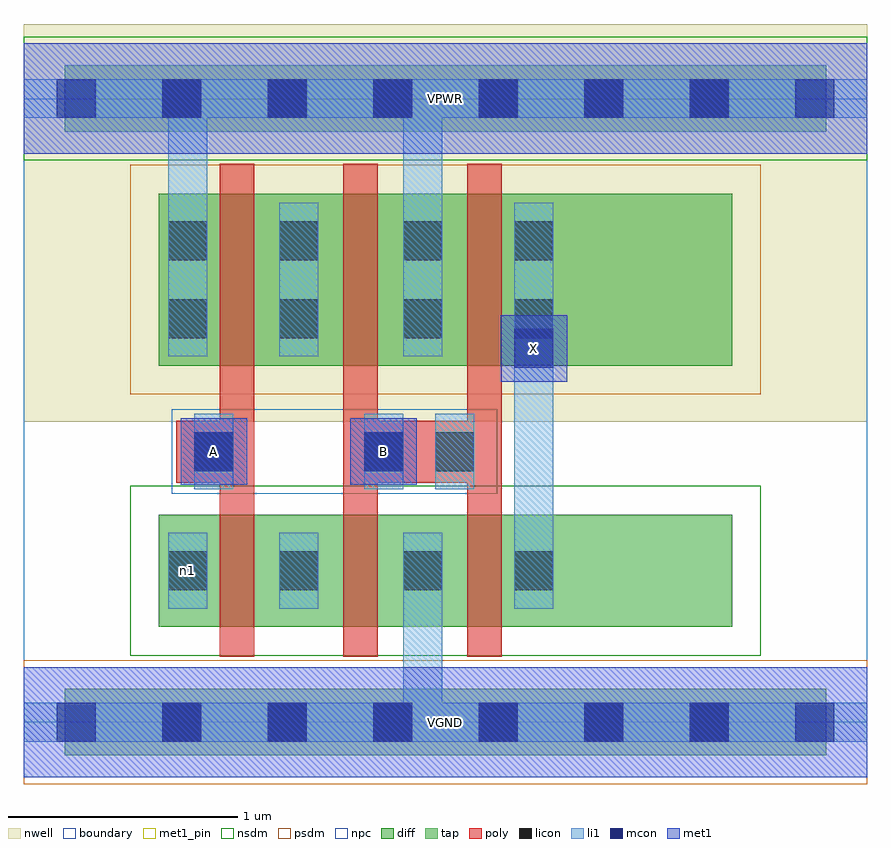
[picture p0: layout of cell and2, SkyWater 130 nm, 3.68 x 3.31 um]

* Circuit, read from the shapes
.subckt and2 A B VGND VPWR X n1
XM1 n2 A n1 VGND sky130_fd_pr__nfet_01v8 w=0.49 l=0.15
XM2 VGND B n2 VGND sky130_fd_pr__nfet_01v8 w=0.49 l=0.15
XM3 X B VGND VGND sky130_fd_pr__nfet_01v8 w=0.49 l=0.15
XM4 n3 A VPWR VPWR sky130_fd_pr__pfet_01v8 w=0.75 l=0.15
XM5 VPWR B n3 VPWR sky130_fd_pr__pfet_01v8 w=0.75 l=0.15
XM6 X B VPWR VPWR sky130_fd_pr__pfet_01v8 w=0.75 l=0.15
.ends

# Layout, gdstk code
import gdstk
lib = gdstk.Library(unit=1e-6, precision=1e-09)
def R(c, l, rs):  # rectangles x0, y0, x1, y1
    for r in rs: c.add(gdstk.rectangle(r[:2], r[2:], *l))
def A(c, l, x, y, w, h, nx, ny, dx, dy):  # array of equal rectangles
    R(c, l, [(x+i*dx, y+j*dy, x+i*dx+w, y+j*dy+h) for i in range(nx) for j in range(ny)])
nwell = (64, 20)
diff = (65, 20)
tap = (65, 44)
poly = (66, 20)
licon = (66, 44)
li1 = (67, 20)
mcon = (67, 44)
met1_pin = (68, 16)
met1 = (68, 20)
nsdm = (93, 44)
psdm = (94, 20)
npc = (95, 20)
boundary = (235, 4)

and2 = lib.new_cell('and2')
R(and2, nwell, [(0,1.31,3.68,3.045)])
R(and2, diff, [(0.59,0.415,3.09,0.905), (0.59,1.555,3.09,2.305)])
R(and2, tap, [(0.18,-0.145,3.5,0.145), (0.18,2.575,3.5,2.865)])
A(and2, poly, 0.855, 0.285, 0.15, 2.15, 3, 1, 0.54, 0)
R(and2, poly, [(0.665,1.045,0.995,1.315), (1.405,1.045,1.735,1.315), (1.715,1.045,2.045,1.315)])
A(and2, licon, 0.605, -0.085, 0.17, 0.17, 6, 2, 0.46, 2.72)
R(and2, licon, [(0.63,0.575,0.8,0.745), (1.115,0.575,1.285,0.745), (1.655,0.575,1.825,0.745), (2.14,0.575,2.31,0.745), (0.745,1.095,0.915,1.265), (1.485,1.095,1.655,1.265), (1.795,1.095,1.965,1.265), (0.63,1.675,0.8,1.845), (1.115,1.675,1.285,1.845), (1.655,1.675,1.825,1.845), (2.14,1.675,2.31,1.845), (0.63,2.015,0.8,2.185), (1.115,2.015,1.285,2.185), (1.655,2.015,1.825,2.185), (2.14,2.015,2.31,2.185)])
R(and2, li1, [(0,-0.085,3.68,0.085), (1.655,-0.085,1.825,0.825), (0.63,0.495,0.8,0.825), (1.115,0.495,1.285,0.825), (1.655,0.495,1.825,0.825), (2.14,0.495,2.31,0.825), (2.14,0.495,2.31,2.265), (0.745,1.015,0.915,1.345), (1.485,1.015,1.655,1.345), (1.795,1.015,1.965,1.345), (0.63,1.595,0.8,2.265), (0.63,1.595,0.8,2.805), (1.115,1.595,1.285,2.265), (1.655,1.595,1.825,2.265), (1.655,1.595,1.825,2.805), (2.14,1.595,2.31,2.265), (0,2.635,3.68,2.805)])
A(and2, mcon, 0.145, -0.085, 0.17, 0.17, 8, 2, 0.46, 2.72)
R(and2, mcon, [(0.745,1.095,0.915,1.265), (1.485,1.095,1.655,1.265), (2.14,1.545,2.31,1.715)])
R(and2, met1_pin, [(0,-0.24,3.68,0.24), (0.685,1.035,0.975,1.325), (1.425,1.035,1.715,1.325), (2.08,1.485,2.37,1.775), (0,2.48,3.68,2.96)])
R(and2, met1, [(0,-0.24,3.68,0.24), (0.685,1.035,0.975,1.325), (1.425,1.035,1.715,1.325), (2.08,1.485,2.37,1.775), (0,2.48,3.68,2.96)])
R(and2, nsdm, [(0.465,0.29,3.215,1.03), (0,2.45,3.68,2.99)])
R(and2, psdm, [(0,-0.27,3.68,0.27), (0.465,1.43,3.215,2.43)])
R(and2, npc, [(0.645,0.995,2.065,1.365)])
R(and2, boundary, [(0,0,3.68,2.72)])
and2.add(gdstk.Label('n1', (0.715,0.66), layer=67, texttype=5))
and2.add(gdstk.Label('X', (2.225,1.63), layer=68, texttype=5))
and2.add(gdstk.Label('A', (0.83,1.18), layer=68, texttype=5))
and2.add(gdstk.Label('B', (1.57,1.18), layer=68, texttype=5))
and2.add(gdstk.Label('VPWR', (1.84,2.72), layer=68, texttype=5))
and2.add(gdstk.Label('VGND', (1.84,0), layer=68, texttype=5))
and2.add(gdstk.Label('X', (2.225,1.63), layer=68, texttype=16))
and2.add(gdstk.Label('A', (0.83,1.18), layer=68, texttype=16))
and2.add(gdstk.Label('B', (1.57,1.18), layer=68, texttype=16))
and2.add(gdstk.Label('VPWR', (1.84,2.72), layer=68, texttype=16))
and2.add(gdstk.Label('VGND', (1.84,0), layer=68, texttype=16))

lib.write_gds('and2.gds')
